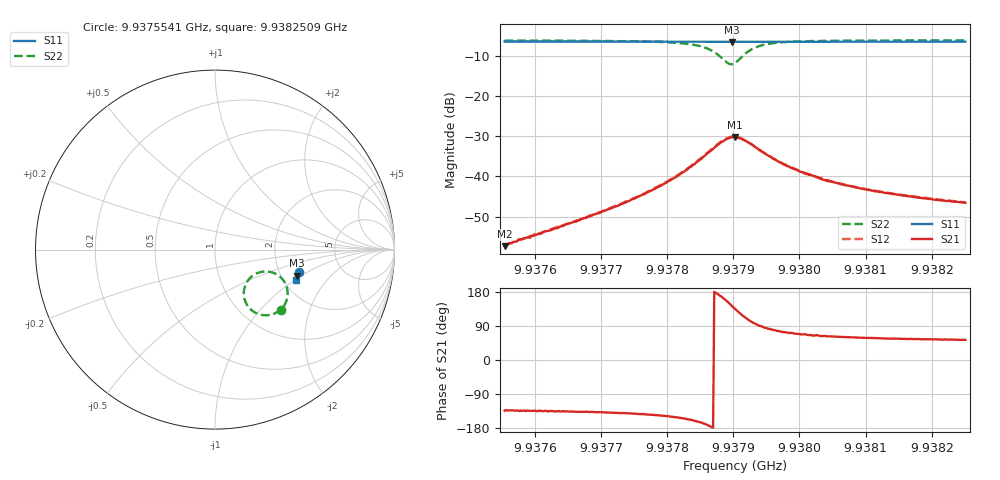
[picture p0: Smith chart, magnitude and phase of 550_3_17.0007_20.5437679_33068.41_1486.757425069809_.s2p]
#  HZ  S  RI  R  50.00
! Rohde & Schwarz Vector Network Analyzer
! Rohde-Schwarz,ZNB20-2Port,1311601062101988,3.16
! Created: UTC 3/20/2024, 11:16:47 PM
! freq[Hz]  re:S11  im:S11  re:S21  im:S21  re:S12  im:S12  re:S22  im:S22
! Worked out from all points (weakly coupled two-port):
!   401 points, 9.9375541 GHz to 9.9382509 GHz, reference 50 ohm
!   highest |S21| = -30.17 dB at 9.9379025 GHz (marker M1); lowest = -57.4 dB at 9.9375541 GHz (marker M2)
!   lowest |S11| = -6.4 dB at 9.9378973 GHz (marker M3), VSWR 2.83, Z = 121 - j45.7 ohm
!   |S11| at or under -10 dB: nowhere
!   |S22| runs from -12.0 to -6.1 dB; largest |S21 - S12| = 0.0013
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9.93755412e9  0.4661 -0.1251  -0.000934 -0.000972  -0.000982 -0.00102  0.3662 -0.3344
9.93758025e9  0.4654 -0.1269  -0.00114 -0.00118  -0.00116 -0.00116  0.3631 -0.3366
9.93767082e9  0.4632 -0.133  -0.0021 -0.00202  -0.0022 -0.00202  0.3499 -0.3463
9.93772831e9  0.4616 -0.1369  -0.00339 -0.00284  -0.00349 -0.00284  0.3359 -0.3539
9.93778753e9  0.46 -0.141  -0.00618 -0.00417  -0.00636 -0.00413  0.3088 -0.3632
9.93782759e9  0.4586 -0.1437  -0.0108 -0.00499  -0.011 -0.00491  0.2696 -0.3653
9.93785895e9  0.4568 -0.1457  -0.0186 -0.00327  -0.019 -0.00284  0.209 -0.3412
9.93787114e9  0.456 -0.1463  -0.0228 4.15e-05  -0.0234 0.00067  0.1786 -0.3081
9.93788159e9  0.4552 -0.1463  -0.0261 0.00568  -0.0266 0.00648  0.1614 -0.2585
9.9378903e9  0.4547 -0.1461  -0.0267 0.0123  -0.0267 0.0135  0.1672 -0.2044
9.93789727e9  0.4546 -0.1458  -0.0246 0.0183  -0.0247 0.0193  0.1912 -0.1628
9.93790249e9  0.4547 -0.1457  -0.0219 0.0219  -0.0214 0.0229  0.2202 -0.1392
9.9379112e9  0.4552 -0.1456  -0.0153 0.0253  -0.0148 0.0263  0.2757 -0.1218
9.9379234e9  0.456 -0.1462  -0.00692 0.0254  -0.00624 0.0258  0.3412 -0.1368
9.93794256e9  0.4565 -0.1478  0.000311 0.0206  0.00105 0.0207  0.3904 -0.1862
9.93797914e9  0.4561 -0.151  0.004 0.0132  0.00446 0.0134  0.4049 -0.2502
9.93800701e9  0.4556 -0.153  0.00411 0.0102  0.0046 0.0103  0.4009 -0.2756
9.9380192e9  0.4551 -0.154  0.00438 0.00928  0.00452 0.00924  0.3986 -0.2832
9.93803836e9  0.4547 -0.1554  0.00401 0.00802  0.00432 0.00804  0.395 -0.2929
9.93806623e9  0.454 -0.1573  0.00388 0.00692  0.00401 0.00687  0.3901 -0.3036
9.9381359e9  0.4521 -0.162  0.00338 0.00512  0.0035 0.00512  0.38 -0.3197
9.93825087e9  0.4489 -0.1694  0.0028 0.00375  0.00293 0.00375  0.368 -0.3345
